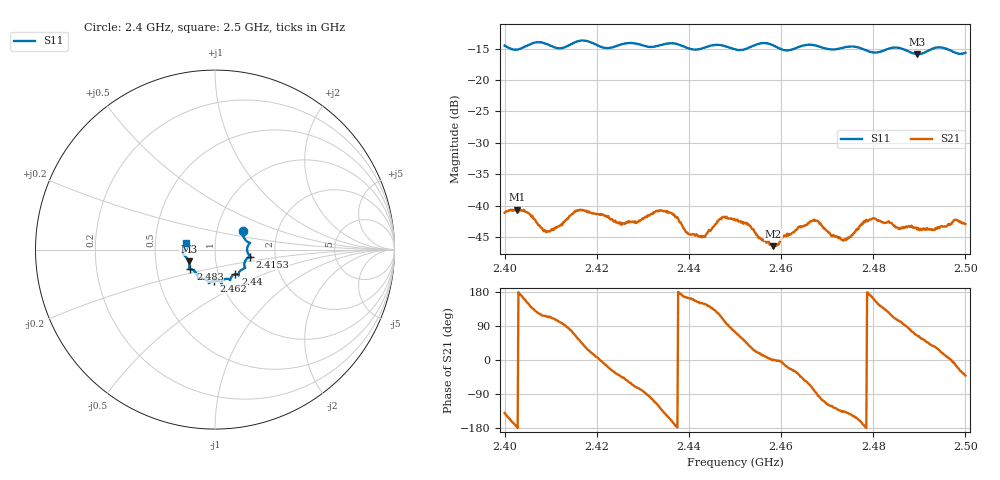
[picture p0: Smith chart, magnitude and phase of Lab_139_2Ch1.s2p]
# Hz S RI R 50
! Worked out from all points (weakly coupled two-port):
!   601 points, 2.4 GHz to 2.5 GHz, reference 50 ohm
!   highest |S21| = -40.64 dB at 2.4027 GHz (marker M1); lowest = -46.5 dB at 2.4583 GHz (marker M2)
!   lowest |S11| = -15.9 dB at 2.4895 GHz (marker M3), VSWR 1.38, Z = 37 - j5.01 ohm
!   |S11| at or under -10 dB: start of sweep to end of sweep
!   S12 and S22 are empty: the file has one direction only
!   S11 on the Smith chart (normalised r, x): 2.4 GHz: 1.33, +0.29; 2.4153 GHz: 1.48, -0.12; 2.44 GHz: 1.20, -0.34; 2.462 GHz: 0.93, -0.33; 2.483 GHz: 0.74, -0.17; 2.5 GHz: 0.72, +0.06
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2.4e9  0.155 0.1063  -0.0067 -0.00567  0 0  0 0
2.402667e9  0.162 0.0647  -0.00927 -0.000622  0 0  0 0
2.409333e9  0.1899 0.0319  -0.00252 0.00568  0 0  0 0
2.415333e9  0.1963 -0.039  0.00389 0.00822  0 0  0 0
2.416667e9  0.2017 -0.0429  0.00641 0.00658  0 0  0 0
2.425667e9  0.1665 -0.0991  0.00495 -0.0053  0 0  0 0
2.433333e9  0.1311 -0.134  -0.0045 -0.00777  0 0  0 0
2.436333e9  0.1323 -0.1449  -0.00823 -0.00278  0 0  0 0
2.44e9  0.1141 -0.1367  -0.00565 0.00175  0 0  0 0
2.443167e9  0.0885 -0.1567  -0.00482 0.00297  0 0  0 0
2.447167e9  0.084 -0.1689  -0.00296 0.00749  0 0  0 0
2.45e9  0.0647 -0.163  0.00209 0.00739  0 0  0 0
2.458333e9  0.035 -0.1854  0.00475 7.65e-05  0 0  0 0
2.462e9  -0.00527 -0.1731  0.00541 -0.00233  0 0  0 0
2.466667e9  -0.0342 -0.1875  0.00237 -0.00713  0 0  0 0
2.473667e9  -0.0854 -0.1605  -0.00389 -0.00369  0 0  0 0
2.478833e9  -0.1026 -0.1357  -0.0075 0.000333  0 0  0 0
2.483e9  -0.1375 -0.1094  -0.00458 0.00577  0 0  0 0
2.483333e9  -0.14 -0.109  -0.00437 0.00611  0 0  0 0
2.4895e9  -0.1462 -0.0661  0.00272 0.00586  0 0  0 0
2.494167e9  -0.1805 -0.0224  0.00594 0.00309  0 0  0 0
2.5e9  -0.1599 0.0395  0.00536 -0.0047  0 0  0 0
